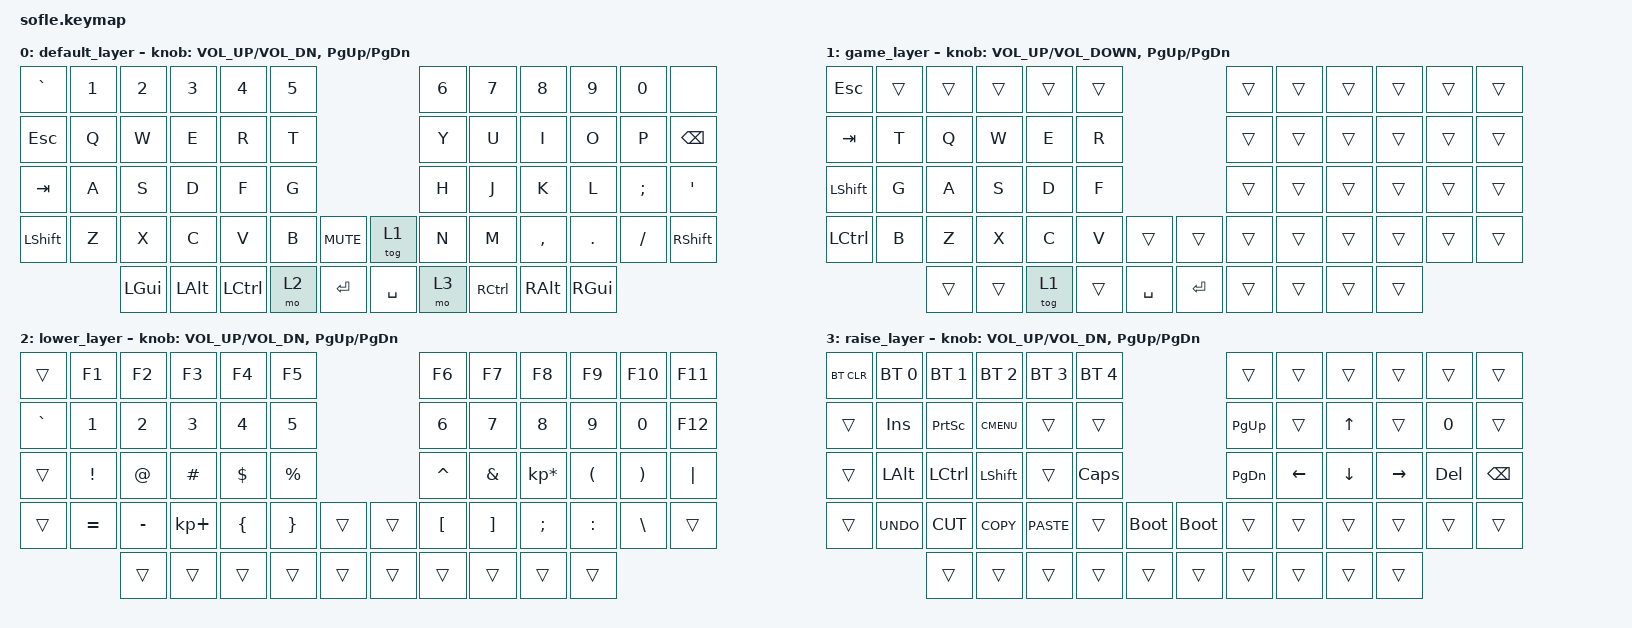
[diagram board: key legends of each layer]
/*
 * Copyright (c) 2020 The ZMK Contributors
 *
 * SPDX-License-Identifier: MIT
 */

#include <behaviors.dtsi>
#include <dt-bindings/zmk/bt.h>
#include <dt-bindings/zmk/keys.h>

/ {
    keymap {
        compatible = "zmk,keymap";

        default_layer {
            // ------------------------------------------------------------------------------------------------------------
            // |  `    |  1  |  2  |  3   |  4   |  5   |                   |  6   |  7    |  8    |  9   |   0   |       |
            // |  ESC  |  Q  |  W  |  E   |  R   |  T   |                   |  Y   |  U    |  I    |  O   |   P   | BKSPC |
            // |  TAB  |  A  |  S  |  D   |  F   |  G   |                   |  H   |  J    |  K    |  L   |   ;   |   '   |
            // | SHIFT |  Z  |  X  |  C   |  V   |  B   |  MUTE  |  |       |  N   |  M    |  ,    |  .   |   /   | SHIFT |
            //               | GUI | ALT  | CTRL | LOWER|   | ENTER | SPACE | RAISE| CTRL  | ALT   | GUI  |

            bindings = <
&kp GRAVE  &kp N1  &kp N2    &kp N3    &kp N4     &kp N5                           &kp N6  &kp N7     &kp N8     &kp N9    &kp N0    &none
&kp ESC    &kp Q   &kp W     &kp E     &kp R      &kp T                            &kp Y   &kp U      &kp I      &kp O     &kp P     &kp BSPC
&kp TAB    &kp A   &kp S     &kp D     &kp F      &kp G                            &kp H   &kp J      &kp K      &kp L     &kp SEMI  &kp SQT
&kp LSHFT  &kp Z   &kp X     &kp C     &kp V      &kp B   &kp C_MUTE    &tog 1     &kp N   &kp M      &kp COMMA  &kp DOT   &kp FSLH  &kp RSHFT
                   &kp LGUI  &kp LALT  &kp LCTRL  &mo 2   &kp RET       &kp SPACE  &mo 3   &kp RCTRL  &kp RALT   &kp RGUI
            >;

            sensor-bindings = <&inc_dec_kp C_VOL_UP C_VOL_DN &inc_dec_kp PG_UP PG_DN>;
        };

        game_layer {
            bindings = <
&kp ESC     &trans  &trans  &trans  &trans  &trans                          &trans  &trans  &trans  &trans  &trans  &trans
&kp TAB     &kp T   &kp Q   &kp W   &kp E   &kp R                           &trans  &trans  &trans  &trans  &trans  &trans
&kp LSHIFT  &kp G   &kp A   &kp S   &kp D   &kp F                           &trans  &trans  &trans  &trans  &trans  &trans
&kp LCTRL   &kp B   &kp Z   &kp X   &kp C   &kp V   &trans       &trans     &trans  &trans  &trans  &trans  &trans  &trans
                    &trans  &trans  &tog 1  &trans  &kp SPACE    &kp ENTER  &trans  &trans  &trans  &trans
            >;

            sensor-bindings =
                <&inc_dec_kp C_VOLUME_UP C_VOLUME_DOWN>,
                <&inc_dec_kp PAGE_UP PAGE_DOWN>;
        };

        lower_layer {
            // TODO: Some binds are waiting for shifted keycode support.
            // ------------------------------------------------------------------------------------------------------------
            // |       |  F1 |  F2 |  F3  |  F4  |  F5  |                   |  F6  |  F7   |  F8   |  F9  |  F10  |  F11  |
            // | `     |   1 |   2 |   3  |   4  |   5  |                   |   6  |   7   |   8   |   9  |    0  |  F12  |
            // |       |  !  |  @  |  #   |  $   |  %   |                   |  ^   |  &    |  *    |  (   |   )   |   |   |
            // |       |  =  |  -  |  +   |  {   |  }   |        |  |       |  [   |  ]    |  ;    |  :   |   \   |       |
            //               |     |      |      |      |        |  |       |      |       |       |      |

            bindings = <
&trans     &kp F1     &kp F2     &kp F3       &kp F4    &kp F5                       &kp F6     &kp F7    &kp F8           &kp F9     &kp F10   &kp F11
&kp GRAVE  &kp N1     &kp N2     &kp N3       &kp N4    &kp N5                       &kp N6     &kp N7    &kp N8           &kp N9     &kp N0    &kp F12
&trans     &kp EXCL   &kp AT     &kp HASH     &kp DLLR  &kp PRCNT                    &kp CARET  &kp AMPS  &kp KP_MULTIPLY  &kp LPAR   &kp RPAR  &kp PIPE
&trans     &kp EQUAL  &kp MINUS  &kp KP_PLUS  &kp LBRC  &kp RBRC   &trans    &trans  &kp LBKT   &kp RBKT  &kp SEMI         &kp COLON  &kp BSLH  &trans
                      &trans     &trans       &trans    &trans     &trans    &trans  &trans     &trans    &trans           &trans
            >;

            sensor-bindings = <&inc_dec_kp C_VOL_UP C_VOL_DN &inc_dec_kp PG_UP PG_DN>;
        };

        raise_layer {
            // ------------------------------------------------------------------------------------------------------------
            // |BTCLR| BT1  | BT2  |  BT3  |  BT4  |  BT5 |                |      |      |       |      |       |       |
            // |     | INS  | PSCR | GUI   |       |      |                | PGUP |      |   ^   |      |       |       |
            // |     | ALT  | CTRL | SHIFT |       | CAPS |                | PGDN |   <- |   v   |  ->  |  DEL  | BKSPC |
            // |     | UNDO | CUT  | COPY  | PASTE |      |      |  |      |      |      |       |      |       |       |
            //              |      |       |       |      |      |  |      |      |      |       |      |

            bindings = <
&bt BT_CLR  &bt BT_SEL 0  &bt BT_SEL 1  &bt BT_SEL 2  &bt BT_SEL 3  &bt BT_SEL 4                              &trans     &trans    &trans    &trans     &trans   &trans
&trans      &kp INS       &kp PSCRN     &kp K_CMENU   &trans        &trans                                    &kp PG_UP  &trans    &kp UP    &trans     &kp N0   &trans
&trans      &kp LALT      &kp LCTRL     &kp LSHFT     &trans        &kp CLCK                                  &kp PG_DN  &kp LEFT  &kp DOWN  &kp RIGHT  &kp DEL  &kp BSPC
&trans      &kp K_UNDO    &kp K_CUT     &kp K_COPY    &kp K_PASTE   &trans        &bootloader    &bootloader  &trans     &trans    &trans    &trans     &trans   &trans
                          &trans        &trans        &trans        &trans        &trans         &trans       &trans     &trans    &trans    &trans
            >;

            sensor-bindings = <&inc_dec_kp C_VOL_UP C_VOL_DN &inc_dec_kp PG_UP PG_DN>;
        };
    };
};
